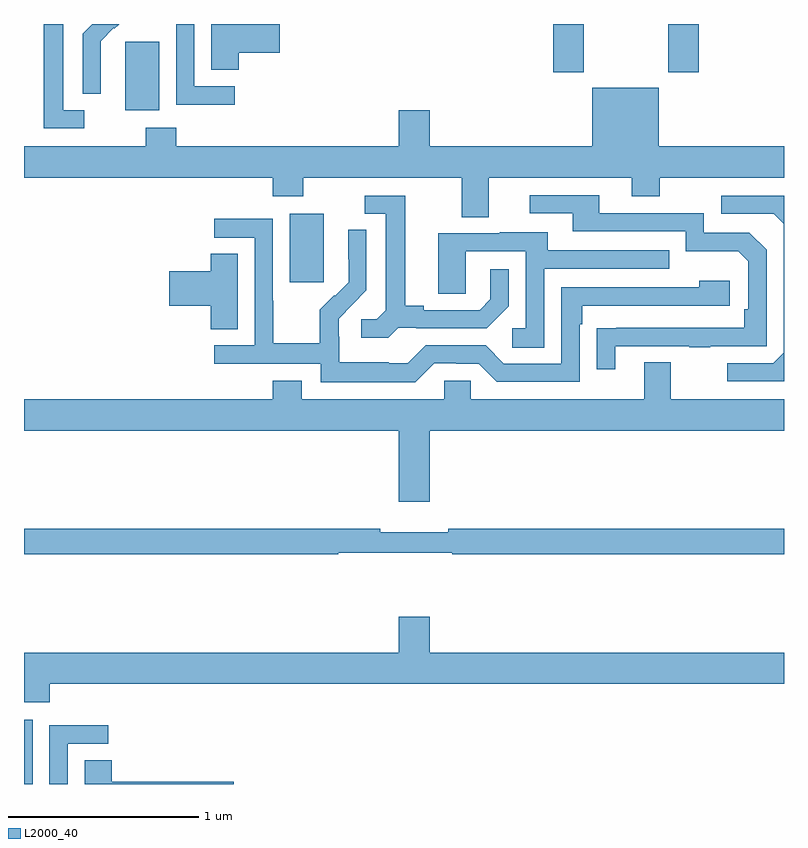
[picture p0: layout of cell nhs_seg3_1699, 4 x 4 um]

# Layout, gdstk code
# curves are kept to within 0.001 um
import gdstk
lib = gdstk.Library(unit=1e-6, precision=1e-09)
def R(c, l, rs):  # rectangles x0, y0, x1, y1
    for r in rs: c.add(gdstk.rectangle(r[:2], r[2:], *l))
def P(c, l, *ps):  # polygons
    for p in ps: c.add(gdstk.Polygon(p, *l))
L2000_40 = (2000, 40)

nhs_seg3_1699 = lib.new_cell('nhs_seg3_1699')
R(nhs_seg3_1699, L2000_40, [(199,688.4,199.045,688.738), (200.399,691.041,200.578,691.402), (199.532,691.946,199.711,692.307), (201.785,692.145,201.945,692.4), (202.39,692.145,202.55,692.4)])
P(nhs_seg3_1699, L2000_40, [(200.11,692.073),(199.896,692.073),(199.896,692.4),(199.8,692.4),(199.8,691.975),(200.11,691.975)],
  [(199.404,692.186),(199.403,692.186),(199.403,692.309),(199.473,692.379),(199.476,692.376),(199.5,692.4),(199.358,692.4),(199.308,692.35),(199.308,692.032),(199.404,692.032)],
  [(200.129,692.249),(200.347,692.249),(200.347,692.4),(199.985,692.4),(199.985,692.158),(200.129,692.158)],
  [(199.318,691.947),(199.207,691.947),(199.207,692.4),(199.103,692.4),(199.103,691.851),(199.318,691.851)],
  [(201.445,691.592),(202.199,691.592),(202.199,691.493),(202.347,691.493),(202.347,691.592),(203,691.592),(203,691.756),(202.342,691.756),(202.342,692.065),(201.992,692.065),(201.992,691.756),(201.136,691.756),(201.136,691.945),(200.972,691.945),(200.972,691.756),(199.802,691.756),(199.802,691.855),(199.642,691.855),(199.642,691.756),(199,691.756),(199,691.592),(200.309,691.592),(200.309,691.493),(200.469,691.493),(200.469,691.592),(201.305,691.592),(201.305,691.384),(201.445,691.384)],
  [(202.111,690.705),(202.501,690.705),(202.501,690.7),(202.613,690.7),(202.613,690.705),(202.908,690.705),(202.908,691.212),(202.818,691.302),(202.578,691.302),(202.578,691.404),(202.027,691.404),(202.027,691.5),(201.663,691.5),(201.663,691.404),(201.887,691.404),(201.887,691.308),(202.482,691.308),(202.482,691.205),(202.759,691.205),(202.812,691.152),(202.812,690.898),(202.792,690.898),(202.792,690.801),(202.015,690.8),(202.015,690.582),(202.111,690.582)],
  [(203,691.497),(202.671,691.497),(202.671,691.401),(202.947,691.401),(202.998,691.35),(202.998,690.669),(202.944,690.615),(202.701,690.615),(202.701,690.519),(203,690.519)],
  [(200.97,690.801),(201.064,690.801),(201.064,690.798),(201.436,690.798),(201.552,690.914),(201.552,691.108),(201.455,691.108),(201.455,690.951),(201.398,690.894),(201.103,690.894),(201.103,690.917),(201.007,690.917),(201.007,691.497),(200.793,691.497),(200.793,691.401),(200.903,691.401),(200.903,690.893),(200.856,690.846),(200.775,690.846),(200.775,690.749),(200.918,690.749)],
  [(201.159,690.615),(201.275,690.615),(201.275,690.612),(201.393,690.612),(201.489,690.516),(201.924,690.516),(201.924,690.821),(201.937,690.821),(201.937,690.918),(202.714,690.918),(202.714,691.048),(202.553,691.048),(202.553,691.014),(201.828,691.014),(201.828,690.612),(201.525,690.612),(201.429,690.708),(201.114,690.708),(201.021,690.615),(200.921,690.615),(200.921,690.619),(200.658,690.619),(200.658,690.753),(200.656,690.753),(200.656,690.85),(200.802,690.998),(200.802,691.316),(200.706,691.316),(200.706,691.162),(200.708,691.162),(200.708,691.04),(200.637,690.969),(200.634,690.972),(200.557,690.895),(200.557,690.721),(200.313,690.721),(200.313,690.944),(200.31,690.944),(200.31,691.374),(200.001,691.374),(200.001,691.275),(200.214,691.275),(200.214,690.708),(200.001,690.708),(200.001,690.612),(200.562,690.612),(200.562,690.515),(201.059,690.515)],
  [(201.738,691.113),(202.397,691.113),(202.397,691.209),(201.757,691.209),(201.757,691.303),(201.503,691.303),(201.503,691.299),(201.179,691.299),(201.179,690.979),(201.324,690.979),(201.324,691.203),(201.642,691.203),(201.642,690.798),(201.57,690.798),(201.57,690.697),(201.738,690.697)],
  [(200.125,691.19),(199.982,691.19),(199.982,691.1),(199.764,691.1),(199.764,690.917),(199.982,690.917),(199.982,690.793),(200.125,690.793)],
  [(201.136,690.26),(203,690.26),(203,690.424),(202.405,690.424),(202.405,690.619),(202.265,690.619),(202.265,690.424),(201.351,690.424),(201.351,690.522),(201.213,690.522),(201.213,690.424),(200.461,690.424),(200.461,690.523),(200.309,690.523),(200.309,690.424),(199,690.424),(199,690.26),(200.972,690.26),(200.972,689.886),(201.136,689.886)],
  [(200.655,689.616),(201.255,689.616),(201.255,689.608),(203,689.608),(203,689.744),(201.232,689.744),(201.232,689.725),(200.876,689.725),(200.876,689.744),(199,689.744),(199,689.608),(200.655,689.608)],
  [(199.136,688.928),(203,688.928),(203,689.092),(201.136,689.092),(201.136,689.281),(200.972,689.281),(200.972,689.092),(199,689.092),(199,688.829),(199.136,688.829)],
  [(199.23,688.611),(199.444,688.611),(199.444,688.71),(199.134,688.71),(199.134,688.4),(199.23,688.4)],
  [(200.104,688.412),(199.463,688.412),(199.463,688.526),(199.319,688.526),(199.319,688.4),(200.104,688.4)])

lib.write_gds('nhs_seg3_1699.gds')
